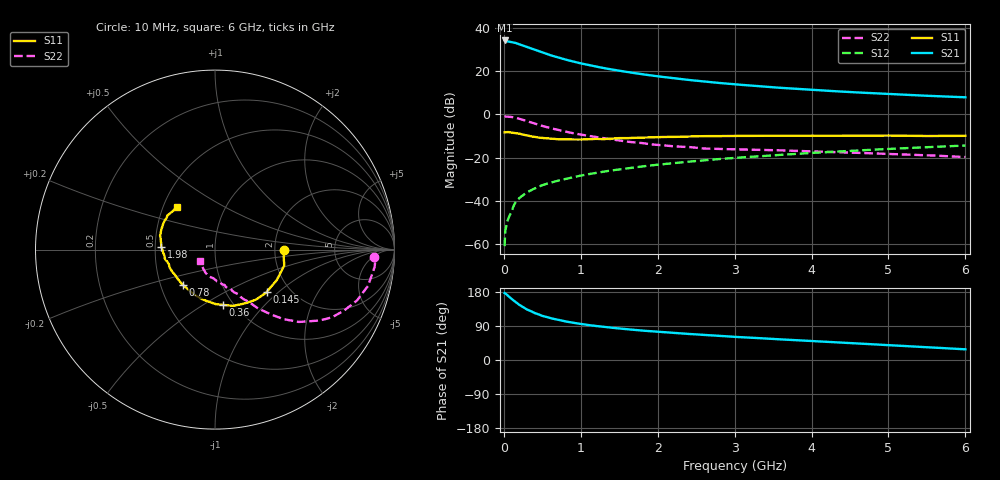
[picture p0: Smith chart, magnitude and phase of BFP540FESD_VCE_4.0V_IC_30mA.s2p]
! Infineon Technologies  Discrete & RF Semiconductors
! BFP540FESD
! VCE =  4.0 V,  IC =  30 mA
! Common Emitter S-Parameters:  Nov 2015
# GHz  S  MA  R  50
!  f  S11  S21  S12  S22
! GHz  MAG  ANG  MAG  ANG  MAG  ANG  MAG  ANG
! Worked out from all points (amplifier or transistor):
!   210 points, 10 MHz to 6 GHz, reference 50 ohm
!   highest |S21| = 34.2 dB at 10 MHz (marker M1)
!   |S21| within 3 dB of that: start of sweep to 301.1 MHz
!   unconditionally stable (mu >= 1): start of sweep to 24.12 MHz; 1.536 GHz to end of sweep
!   at 185 MHz: K = 0.45, MSG = 36.0 dB, |S12| = -39.3 dB
!   at 1.52 GHz: K = 1.00, MSG = 22.7 dB, |S12| = -25.4 dB
!   at 6 GHz: K = 1.16, MAG = 8.7 dB, |S12| = -14.4 dB
!   S11 on the Smith chart (normalised r, x): 10 MHz: 2.25, -0.02; 145 MHz: 1.54, -0.84; 360 MHz: 0.89, -0.61; 780 MHz: 0.65, -0.28; 1.98 GHz: 0.54, +0.02; 6 GHz: 0.59, +0.31
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0.01  0.3848 -0.5  51.51 176.7  0.0009 39.1  0.8855 -2.7
0.02  0.3851 -6.2  49.81 175.5  0.0021 45.3  0.8972 -1.5
0.05  0.3957 -12.9  49.2 170.3  0.0036 68.9  0.8946 -6.2
0.1  0.3839 -26.2  47.34 161.4  0.0056 72.8  0.8765 -13.3
0.145  0.3723 -39.0  45.38 154.1  0.0089 72.1  0.8436 -19.0
0.2  0.3605 -50.7  42.24 145.7  0.0116 72.6  0.7949 -25.4
0.24  0.345 -59.3  39.85 140.7  0.0132 69.5  0.7585 -29.4
0.3  0.329 -72.3  36.53 133.4  0.0158 69.3  0.7016 -34.3
0.36  0.3107 -82.1  33.3 128.1  0.018 68.2  0.6499 -38.0
0.4  0.304 -89.1  31.34 124.0  0.0194 67.6  0.6171 -40.8
0.5  0.2866 -103.5  27.13 116.5  0.0232 66.2  0.5423 -45.5
0.6  0.2763 -114.7  23.58 110.7  0.0262 65.9  0.4854 -48.7
0.78  0.2657 -132.1  19.06 102.6  0.0316 66.3  0.4085 -53.5
1.02  0.2641 -148.4  14.94 94.6  0.0392 65.9  0.3381 -57.9
1.4  0.2757 -166.4  11 85.2  0.0508 65.5  0.2647 -65.4
1.98  0.2993 176.7  7.717 74.8  0.0683 62.9  0.1996 -77.5
2.02  0.3007 175.7  7.559 74.1  0.0695 62.7  0.197 -78.5
2.54  0.3141 166.3  5.939 67.0  0.0851 60.1  0.1672 -90.0
3.1  0.3192 159.1  4.828 60.1  0.1017 56.8  0.1551 -99.5
4.1  0.3228 151.1  3.625 49.0  0.1319 50.9  0.1382 -112.8
5.1  0.324 142.7  2.927 38.0  0.1628 43.3  0.1205 -125.4
6  0.3206 131.6  2.497 28.2  0.1914 36.0  0.1035 -143.8
